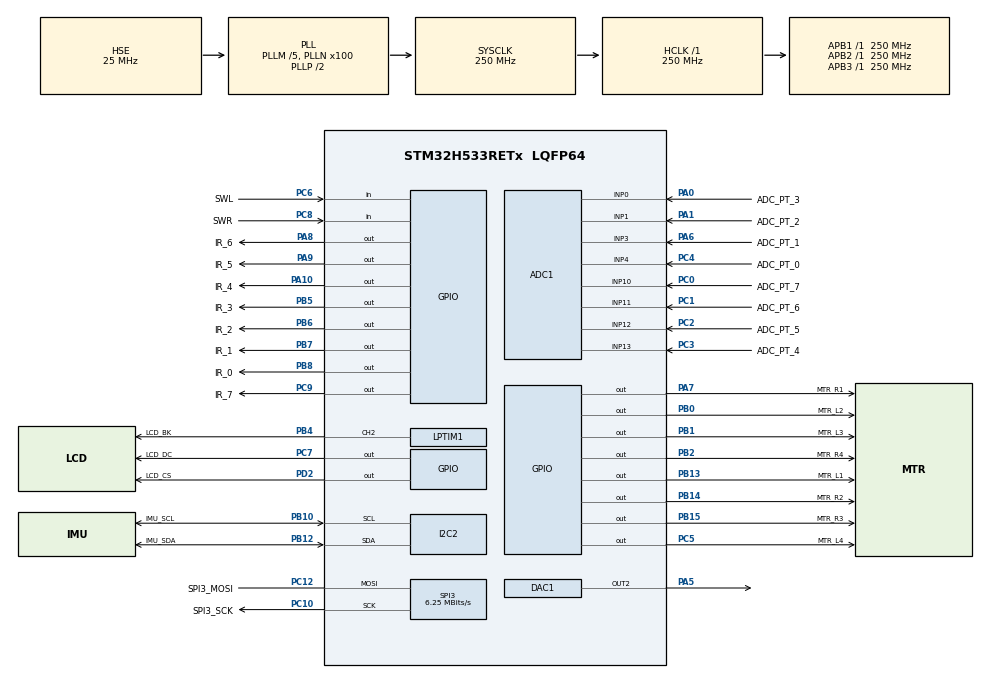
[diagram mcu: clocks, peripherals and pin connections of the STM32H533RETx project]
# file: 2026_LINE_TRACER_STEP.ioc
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ADC1.Channel-0\#ChannelRegularConversion=ADC_CHANNEL_4
ADC1.Channel-1\#ChannelRegularConversion=ADC_CHANNEL_3
ADC1.Channel-2\#ChannelRegularConversion=ADC_CHANNEL_1
ADC1.Channel-3\#ChannelRegularConversion=ADC_CHANNEL_0
ADC1.Channel-4\#ChannelRegularConversion=ADC_CHANNEL_13
ADC1.Channel-5\#ChannelRegularConversion=ADC_CHANNEL_12
ADC1.Channel-6\#ChannelRegularConversion=ADC_CHANNEL_11
ADC1.Channel-7\#ChannelRegularConversion=ADC_CHANNEL_10
ADC1.ClockPrescaler=ADC_CLOCK_ASYNC_DIV8
ADC1.DiscontinuousConvMode=ENABLE
ADC1.ExternalTrigConv=ADC_EXTERNALTRIG_T3_TRGO
ADC1.MonitoredBy-0\#ChannelRegularConversion=__NULL
ADC1.MonitoredBy-1\#ChannelRegularConversion=__NULL
ADC1.MonitoredBy-2\#ChannelRegularConversion=__NULL
ADC1.MonitoredBy-3\#ChannelRegularConversion=__NULL
ADC1.MonitoredBy-4\#ChannelRegularConversion=__NULL
ADC1.MonitoredBy-5\#ChannelRegularConversion=__NULL
ADC1.MonitoredBy-6\#ChannelRegularConversion=__NULL
ADC1.MonitoredBy-7\#ChannelRegularConversion=__NULL
ADC1.NbrOfConversion=8
ADC1.NbrOfConversionFlag=1
ADC1.OffsetNumber-0\#ChannelRegularConversion=ADC_OFFSET_NONE
ADC1.OffsetNumber-1\#ChannelRegularConversion=ADC_OFFSET_NONE
ADC1.OffsetNumber-2\#ChannelRegularConversion=ADC_OFFSET_NONE
ADC1.OffsetNumber-3\#ChannelRegularConversion=ADC_OFFSET_NONE
ADC1.OffsetNumber-4\#ChannelRegularConversion=ADC_OFFSET_NONE
ADC1.OffsetNumber-5\#ChannelRegularConversion=ADC_OFFSET_NONE
ADC1.OffsetNumber-6\#ChannelRegularConversion=ADC_OFFSET_NONE
ADC1.OffsetNumber-7\#ChannelRegularConversion=ADC_OFFSET_NONE
ADC1.OversamplingMode=ENABLE
ADC1.Rank-0\#ChannelRegularConversion=1
ADC1.Rank-1\#ChannelRegularConversion=2
ADC1.Rank-2\#ChannelRegularConversion=3
ADC1.Rank-3\#ChannelRegularConversion=4
ADC1.Rank-4\#ChannelRegularConversion=5
ADC1.Rank-5\#ChannelRegularConversion=6
ADC1.Rank-6\#ChannelRegularConversion=7
ADC1.Rank-7\#ChannelRegularConversion=8
ADC1.Ratio=ADC_OVERSAMPLING_RATIO_4
ADC1.RightBitShift=ADC_RIGHTBITSHIFT_2
ADC1.SamplingTime-0\#ChannelRegularConversion=ADC_SAMPLETIME_247CYCLES_5
ADC1.SamplingTime-1\#ChannelRegularConversion=ADC_SAMPLETIME_247CYCLES_5
ADC1.SamplingTime-2\#ChannelRegularConversion=ADC_SAMPLETIME_247CYCLES_5
ADC1.SamplingTime-3\#ChannelRegularConversion=ADC_SAMPLETIME_247CYCLES_5
ADC1.SamplingTime-4\#ChannelRegularConversion=ADC_SAMPLETIME_247CYCLES_5
ADC1.SamplingTime-5\#ChannelRegularConversion=ADC_SAMPLETIME_247CYCLES_5
ADC1.SamplingTime-6\#ChannelRegularConversion=ADC_SAMPLETIME_247CYCLES_5
ADC1.SamplingTime-7\#ChannelRegularConversion=ADC_SAMPLETIME_247CYCLES_5
ADC1.master=1
BOOTPATH.BootPathName=LEGACY
BOOTPATH.UserSelectedBootPath=LEGACY
CORTEX_M33_NS.userName=CORTEX_M33
DAC1.DAC_Channel-DAC_OUT2_Ext=DAC_CHANNEL_2
I2C2.Timing=0x60808CD3
LPTIM1.ClockPrescaler=LPTIM_PRESCALER_DIV128
LPTIM1.Period=1000-1
Mcu.Family=STM32H5
Mcu.Name=STM32H533RETx
Mcu.Package=LQFP64
NVIC.ADC1_IRQn=true\:0\:0\:false\:false\:true\:true\:true\:true
NVIC.PriorityGroup=NVIC_PRIORITYGROUP_4
NVIC.TIM1_UP_IRQn=true\:0\:0\:false\:false\:true\:true\:true\:true
NVIC.TIM3_IRQn=true\:0\:0\:false\:false\:true\:true\:true\:true
NVIC.TIM6_IRQn=true\:0\:0\:false\:false\:true\:true\:true\:true
NVIC.TIM7_IRQn=true\:0\:0\:false\:false\:true\:true\:true\:true
NVIC.TIM8_UP_IRQn=true\:0\:0\:false\:false\:true\:true\:true\:true
PA0.GPIO_Label=ADC_PT_3
PA0.Signal=ADCx_INP0
PA1.GPIO_Label=ADC_PT_2
PA1.Signal=ADCx_INP1
PA10.GPIO_Label=IR_4
PA10.Signal=GPIO_Output
PA13(JTMS/SWDIO).GPIO_Label=SWDIO
PA13(JTMS/SWDIO).Signal=DEBUG_JTMS-SWDIO
PA14(JTCK/SWCLK).GPIO_Label=SWCLK
PA14(JTCK/SWCLK).Signal=DEBUG_JTCK-SWCLK
PA15(JTDI).GPIO_Label=JTDI
PA15(JTDI).Signal=DEBUG_JTDI
PA5.Signal=COMP_DAC12_group
PA6.GPIO_Label=ADC_PT_1
PA6.Signal=ADCx_INP3
PA7.GPIO_Label=MTR_R1
PA7.Signal=GPIO_Output
PA8.GPIO_Label=IR_6
PA8.Signal=GPIO_Output
PA9.GPIO_Label=IR_5
PA9.Signal=GPIO_Output
PB0.GPIO_Label=MTR_L2
PB0.Signal=GPIO_Output
PB1.GPIO_Label=MTR_L3
PB1.Signal=GPIO_Output
PB10.GPIO_Label=IMU_SCL
PB10.Mode=I2C
PB10.Signal=I2C2_SCL
PB12.GPIO_Label=IMU_SDA
PB12.Mode=I2C
PB12.Signal=I2C2_SDA
PB13.GPIO_Label=MTR_L1
PB13.Signal=GPIO_Output
PB14.GPIO_Label=MTR_R2
PB14.Signal=GPIO_Output
PB15.GPIO_Label=MTR_R3
PB15.Signal=GPIO_Output
PB2.GPIO_Label=MTR_R4
PB2.Signal=GPIO_Output
PB3(JTDO/TRACESWO).GPIO_Label=SWO
PB3(JTDO/TRACESWO).Signal=DEBUG_JTDO-SWO
PB4(NJTRST).GPIO_Label=LCD_BK
PB4(NJTRST).Signal=S_LPTIM1_CH2
PB5.GPIO_Label=IR_3
PB5.Signal=GPIO_Output
PB6.GPIO_Label=IR_2
PB6.Signal=GPIO_Output
PB7.GPIO_Label=IR_1
PB7.Signal=GPIO_Output
PB8.GPIO_Label=IR_0
PB8.Signal=GPIO_Output
PC0.GPIO_Label=ADC_PT_7
PC0.Signal=ADCx_INP10
PC1.GPIO_Label=ADC_PT_6
PC1.Signal=ADCx_INP11
PC10.GPIO_Label=SPI3_SCK
PC10.Mode=Simplex_Bidirectional_Master
PC10.Signal=SPI3_SCK
PC12.GPIO_Label=SPI3_MOSI
PC12.Mode=Simplex_Bidirectional_Master
PC12.Signal=SPI3_MOSI
PC14-OSC32_IN(OSC32_IN).Mode=LSE-External-Oscillator
PC14-OSC32_IN(OSC32_IN).Signal=RCC_OSC32_IN
PC15-OSC32_OUT(OSC32_OUT).Mode=LSE-External-Oscillator
PC15-OSC32_OUT(OSC32_OUT).Signal=RCC_OSC32_OUT
PC2.GPIO_Label=ADC_PT_5
PC2.Signal=ADCx_INP12
PC3.GPIO_Label=ADC_PT_4
PC3.Signal=ADCx_INP13
PC4.GPIO_Label=ADC_PT_0
PC4.Signal=ADCx_INP4
PC5.GPIO_Label=MTR_L4
PC5.Signal=GPIO_Output
PC6.GPIO_Label=SWL
PC6.GPIO_PuPd=GPIO_PULLDOWN
PC6.Signal=GPIO_Input
PC7.GPIO_Label=LCD_DC
PC7.Signal=GPIO_Output
PC8.GPIO_Label=SWR
PC8.GPIO_PuPd=GPIO_PULLDOWN
PC8.Signal=GPIO_Input
PC9.GPIO_Label=IR_7
PC9.Signal=GPIO_Output
PD2.GPIO_Label=LCD_CS
PD2.Signal=GPIO_Output
PH0-OSC_IN(PH0).Mode=HSE-External-Oscillator
PH0-OSC_IN(PH0).Signal=RCC_OSC_IN
PH1-OSC_OUT(PH1).Mode=HSE-External-Oscillator
PH1-OSC_OUT(PH1).Signal=RCC_OSC_OUT
ProjectManager.HeapSize=0x200
ProjectManager.StackSize=0x400
ProjectManager.TargetToolchain=STM32CubeIDE
RCC.ADCFreq_Value=250000000
RCC.AHBFreq_Value=250000000
RCC.APB1Freq_Value=250000000
RCC.APB1TimFreq_Value=250000000
RCC.APB2Freq_Value=250000000
RCC.APB2TimFreq_Value=250000000
RCC.APB3Freq_Value=250000000
RCC.CSI_VALUE=4000000
RCC.CortexFreq_Value=250000000
RCC.EPOD_VALUE=25000000
RCC.HCLKFreq_Value=250000000
RCC.HSE_VALUE=25000000
RCC.HSI48_VALUE=48000000
RCC.HSI_VALUE=64000000
RCC.LSIRC_VALUE=32000
RCC.PLL1Q=5
RCC.PLLFRACN=0
RCC.PLLM=5
RCC.PLLN=100
RCC.PLLSourceVirtual=RCC_PLL1_SOURCE_HSE
RCC.SYSCLKFreq_VALUE=250000000
RCC.SYSCLKSource=RCC_SYSCLKSOURCE_PLLCLK
RCC.USBFreq_Value=48000000
RCC.VCOOutputFreq_Value=500000000
SH.ADCx_INP0.0=ADC1_INP0,IN0-Single-Ended
SH.ADCx_INP1.0=ADC1_INP1,IN1-Single-Ended
SH.ADCx_INP10.0=ADC1_INP10,IN10-Single-Ended
SH.ADCx_INP11.0=ADC1_INP11,IN11-Single-Ended
SH.ADCx_INP12.0=ADC1_INP12,IN12-Single-Ended
SH.ADCx_INP13.0=ADC1_INP13,IN13-Single-Ended
SH.ADCx_INP3.0=ADC1_INP3,IN3-Single-Ended
SH.ADCx_INP4.0=ADC1_INP4,IN4-Single-Ended
SH.COMP_DAC12_group.0=DAC1_OUT2,DAC_OUT2_Ext
SH.S_LPTIM1_CH2.0=LPTIM1_CH2,OutputIO_CH2
SPI3.BaudRatePrescaler=SPI_BAUDRATEPRESCALER_16
SPI3.CalculateBaudRate=6.25 MBits/s
SPI3.DataSize=SPI_DATASIZE_8BIT
SPI3.Direction=SPI_DIRECTION_1LINE
SPI3.Mode=SPI_MODE_MASTER
SPI3.VirtualType=VM_MASTER
TIM1.AutoReloadPreload=TIM_AUTORELOAD_PRELOAD_ENABLE
TIM3.PeriodNoDither=150-1
TIM3.Prescaler=250-1
TIM3.TIM_MasterOutputTrigger=TIM_TRGO_UPDATE
TIM3.TIM_MasterSlaveMode=TIM_MASTERSLAVEMODE_ENABLE
TIM6.PeriodNoDither=250-1
TIM6.Prescaler=250-1
TIM6.TIM_MasterOutputTrigger=TIM_TRGO_UPDATE
TIM7.PeriodNoDither=500-1
TIM7.Prescaler=250-1
TIM8.AutoReloadPreload=TIM_AUTORELOAD_PRELOAD_ENABLE
VP_BOOTPATH_VS_BOOTPATH.Mode=BP_Activate
VP_CORTEX_M33_NS_VS_Hclk.Mode=Hclk_Mode
VP_ICACHE_VS_ICACHE.Mode=DefaultMode
VP_LPTIM1_VS_CH2.Mode=Channel_2_Active
VP_LPTIM1_VS_LPTIM_counterModeInternalClock.Mode=Counts__internal_clock_event_00
VP_MEMORYMAP_VS_MEMORYMAP.Mode=CurAppReg
VP_PWR_VS_LPOM.Mode=PowerOptimisation
VP_PWR_VS_SECSignals.Mode=Security/Privilege
VP_RNG_VS_RNG.Mode=RNG_Activate
VP_TIM12_VS_ClockSourceINT.Mode=Internal
VP_TIM1_VS_ClockSourceINT.Mode=Internal
VP_TIM3_VS_ClockSourceINT.Mode=Internal
VP_TIM3_VS_OPM.Mode=OPM_bit
VP_TIM6_VS_ClockSourceINT.Mode=Enable_Timer
VP_TIM7_VS_ClockSourceINT.Mode=Enable_Timer
VP_TIM8_VS_ClockSourceINT.Mode=Internal
board=NUCLEO-H533RE

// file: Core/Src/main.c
/* USER CODE BEGIN Header */
/**
 ******************************************************************************
 * @file           : main.c
 * @brief          : Main program body
 ******************************************************************************
 * @attention
 *
 * Copyright (c) 2026 STMicroelectronics.
 * All rights reserved.
 *
 * This software is licensed under terms that can be found in the LICENSE file
 * in the root directory of this software component.
 * If no LICENSE file comes with this software, it is provided AS-IS.
 *
 ******************************************************************************
 */
/* USER CODE END Header */
#include "main.h"
#include "adc.h"
#include "dac.h"
#include "i2c.h"
#include "icache.h"
#include "lptim.h"
#include "rng.h"
#include "spi.h"
#include "tim.h"
#include "gpio.h"

/* USER CODE BEGIN Includes */
#include "st7789_lcd.h"

#include "button.h"
#include "menu.h"
#include "sensor.h"
#include "motor.h"
#include "dac.h"
/* USER CODE END Includes */

void SystemClock_Config(void);

int main(void)
{

  /* MCU Configuration--------------------------------------------------------*/

  /* Reset of all peripherals, Initializes the Flash interface and the Systick. */
  HAL_Init();

  /* USER CODE BEGIN Init */

  /* 최우선 안전조치: 클럭·주변장치 초기화보다 먼저 모터 핀을 출력·LOW로 확정한다.
   * 리셋 직후 GPIO는 플로팅 입력이라, 반전보드가 이를 오해해 코일을 켤 수 있다. */
  {
    GPIO_InitTypeDef MTR_InitStruct = {0};

    __HAL_RCC_GPIOA_CLK_ENABLE();
    __HAL_RCC_GPIOB_CLK_ENABLE();
    __HAL_RCC_GPIOC_CLK_ENABLE();

    HAL_GPIO_WritePin(GPIOA, MTR_R1_Pin, GPIO_PIN_RESET);
    HAL_GPIO_WritePin(GPIOB, MTR_L1_Pin|MTR_L2_Pin|MTR_L3_Pin
                            |MTR_R2_Pin|MTR_R3_Pin|MTR_R4_Pin, GPIO_PIN_RESET);
    HAL_GPIO_WritePin(GPIOC, MTR_L4_Pin, GPIO_PIN_RESET);

    MTR_InitStruct.Mode  = GPIO_MODE_OUTPUT_PP;
    MTR_InitStruct.Pull  = GPIO_NOPULL;
    MTR_InitStruct.Speed = GPIO_SPEED_FREQ_LOW;

    MTR_InitStruct.Pin = MTR_R1_Pin;
    HAL_GPIO_Init(GPIOA, &MTR_InitStruct);

    MTR_InitStruct.Pin = MTR_L1_Pin|MTR_L2_Pin|MTR_L3_Pin
                        |MTR_R2_Pin|MTR_R3_Pin|MTR_R4_Pin;
    HAL_GPIO_Init(GPIOB, &MTR_InitStruct);

    MTR_InitStruct.Pin = MTR_L4_Pin;
    HAL_GPIO_Init(GPIOC, &MTR_InitStruct);
  }

  /* USER CODE END Init */

  /* Configure the system clock */
  SystemClock_Config();

  /* Initialize all configured peripherals */
  MX_GPIO_Init();
  MX_ADC1_Init();
  MX_I2C2_Init();
  MX_LPTIM1_Init();
  MX_SPI3_Init();
  MX_TIM3_Init();
  MX_ICACHE_Init();
  MX_RNG_Init();
  MX_TIM6_Init();
  MX_TIM7_Init();
  MX_TIM12_Init();
  MX_TIM1_Init();
  MX_TIM8_Init();
  MX_DAC1_Init();
  /* USER CODE BEGIN 2 */

  /* PA5 강제 아날로그 복구 (BSP/GPIO가 DAC 핀을 뺏은 것 되돌림) */
  {
    GPIO_InitTypeDef DAC_Pin_InitStruct = {0};
    __HAL_RCC_GPIOA_CLK_ENABLE();
    DAC_Pin_InitStruct.Pin  = GPIO_PIN_5;
    DAC_Pin_InitStruct.Mode = GPIO_MODE_ANALOG;
    DAC_Pin_InitStruct.Pull = GPIO_NOPULL;
    HAL_GPIO_Init(GPIOA, &DAC_Pin_InitStruct);
  }

  /* 모터 완전 차단 재확인: 코일 0 + 타이머 정지 + REFERENCE 0 */
  Motor_Stop_L();
  Motor_Stop_R();
  Motor_Coil_Off();
  HAL_DAC_Start(&hdac1, DAC_CHANNEL_2);
  HAL_DAC_SetValue(&hdac1, DAC_CHANNEL_2, DAC_ALIGN_12B_R, 0);
  HAL_DAC_Stop(&hdac1, DAC_CHANNEL_2);

  /* USER CODE END 2 */

  /* Infinite loop */
  /* USER CODE BEGIN WHILE */
    MX_Button_Init(); // .ioc 재생성 방어: BSP_PB_Init 등 모든 초기화 끝난 직후 덮어쓰기

    while (1) {
		Main_Menu();

    /* USER CODE END WHILE */

	}
}

void SystemClock_Config(void)
{
  RCC_OscInitTypeDef RCC_OscInitStruct = {0};
  RCC_ClkInitTypeDef RCC_ClkInitStruct = {0};

  /** Configure the main internal regulator output voltage
  */
  __HAL_PWR_VOLTAGESCALING_CONFIG(PWR_REGULATOR_VOLTAGE_SCALE0);

  while(!__HAL_PWR_GET_FLAG(PWR_FLAG_VOSRDY)) {}

  /** Configure LSE Drive Capability
  *  Warning : Only applied when the LSE is disabled.
  */
  HAL_PWR_EnableBkUpAccess();
  __HAL_RCC_LSEDRIVE_CONFIG(RCC_LSEDRIVE_LOW);

  /** Initializes the RCC Oscillators according to the specified parameters
  * in the RCC_OscInitTypeDef structure.
  */
  RCC_OscInitStruct.OscillatorType = RCC_OSCILLATORTYPE_HSI48|RCC_OSCILLATORTYPE_HSE
                              |RCC_OSCILLATORTYPE_LSE;
  RCC_OscInitStruct.HSEState = RCC_HSE_ON;
  RCC_OscInitStruct.LSEState = RCC_LSE_ON;
  RCC_OscInitStruct.HSI48State = RCC_HSI48_ON;
  RCC_OscInitStruct.PLL.PLLState = RCC_PLL_ON;
  RCC_OscInitStruct.PLL.PLLSource = RCC_PLL1_SOURCE_HSE;
  RCC_OscInitStruct.PLL.PLLM = 5;
  RCC_OscInitStruct.PLL.PLLN = 100;
  RCC_OscInitStruct.PLL.PLLP = 2;
  RCC_OscInitStruct.PLL.PLLQ = 5;
  RCC_OscInitStruct.PLL.PLLR = 2;
  RCC_OscInitStruct.PLL.PLLRGE = RCC_PLL1_VCIRANGE_2;
  RCC_OscInitStruct.PLL.PLLVCOSEL = RCC_PLL1_VCORANGE_WIDE;
  RCC_OscInitStruct.PLL.PLLFRACN = 0;
  if (HAL_RCC_OscConfig(&RCC_OscInitStruct) != HAL_OK)
  {
    Error_Handler();
  }

  /** Initializes the CPU, AHB and APB buses clocks
  */
  RCC_ClkInitStruct.ClockType = RCC_CLOCKTYPE_HCLK|RCC_CLOCKTYPE_SYSCLK
                              |RCC_CLOCKTYPE_PCLK1|RCC_CLOCKTYPE_PCLK2
                              |RCC_CLOCKTYPE_PCLK3;
  RCC_ClkInitStruct.SYSCLKSource = RCC_SYSCLKSOURCE_PLLCLK;
  RCC_ClkInitStruct.AHBCLKDivider = RCC_SYSCLK_DIV1;
  RCC_ClkInitStruct.APB1CLKDivider = RCC_HCLK_DIV1;
  RCC_ClkInitStruct.APB2CLKDivider = RCC_HCLK_DIV1;
  RCC_ClkInitStruct.APB3CLKDivider = RCC_HCLK_DIV1;

  if (HAL_RCC_ClockConfig(&RCC_ClkInitStruct, FLASH_LATENCY_5) != HAL_OK)
  {
    Error_Handler();
  }

  /** Configure the programming delay
  */
  __HAL_FLASH_SET_PROGRAM_DELAY(FLASH_PROGRAMMING_DELAY_2);
}

void Error_Handler(void)
{
	__disable_irq();
	while (1) {
	}
}
